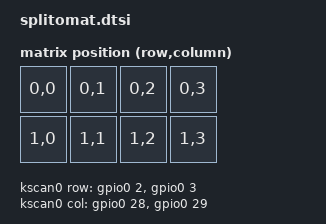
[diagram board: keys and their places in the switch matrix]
#include <dt-bindings/zmk/matrix_transform.h>

/ {
    kscan0: kscan0 {
        compatible = "zmk,kscan-gpio-matrix";
        diode-direction = "col2row";
        wakeup-source;

        row-gpios
            = <&gpio0 2 (GPIO_ACTIVE_HIGH | GPIO_PULL_DOWN)>
            , <&gpio0 3 (GPIO_ACTIVE_HIGH | GPIO_PULL_DOWN)>
            ;
		col-gpios
			= <&gpio0 28 GPIO_ACTIVE_HIGH>
			, <&gpio0 29 GPIO_ACTIVE_HIGH>
			;
    };
};

/ {
    default_transform: keymap_transform0 {
        compatible = "zmk,matrix-transform";
        columns = <4>;
        rows = <2>;
        map = <
        //  LKey 1 |LKey 2       RKey 1 |RKey 2
            RC(0,0) RC(0,1)      RC(0,2) RC(0,3)
        //  LKey 3 |LKey 4     RKey 3 |RKey 4
            RC(1,0) RC(1,1)      RC(1,2) RC(1,3)
        >;
    };
};

/ {
    physical_layout0: physical_layout_0 { // First physical layout, use different naming for other layouts
        compatible = "zmk,physical-layout";
        display-name = "Default Layout";
        kscan = <&kscan0>; // Label of the kscan node, optional if all layouts use the same
        transform = <&default_transform>; // Label of the matrix transform for this layout
    };
};

&gpio0 {
    fastbatcharge: fast-battery-charge {
        gpio-hog;
        gpios = <13 GPIO_ACTIVE_HIGH>;
        output-low;
        line-name = "Fast Battery Charge";
    };
};

&pinctrl {
    spi3_default: spi3_default {
		group1 {
			psels = <NRF_PSEL(SPIM_MOSI, 1, 15)>;
		};
	};

	spi3_sleep: spi3_sleep {
		group1 {
			psels = <NRF_PSEL(SPIM_MOSI, 1, 15)>;
			low-power-enable;
		};
	};
};

&spi3 {
	compatible = "nordic,nrf-spim";
	status = "okay";
	pinctrl-0 = <&spi3_default>;
	pinctrl-1 = <&spi3_sleep>;
    pinctrl-names = "default", "sleep";

	led_strip: ws2812@0 {
		compatible = "worldsemi,ws2812-spi";

		/* SPI */
		reg = <0>; /* ignored, but necessary for SPI bindings */
		spi-max-frequency = <4000000>;

		/* WS2812 */
		chain-length = <3>; /* arbitrary; change at will */
		color-mapping = <LED_COLOR_ID_GREEN
				         LED_COLOR_ID_RED
				         LED_COLOR_ID_BLUE>;
		spi-one-frame = <0x70>;
		spi-zero-frame = <0x40>;
	};
};

/ {
    chosen {
        zmk,physical-layout = &physical_layout0;
        // Other chosen items
		zmk,underglow = &led_strip;
    };
};
